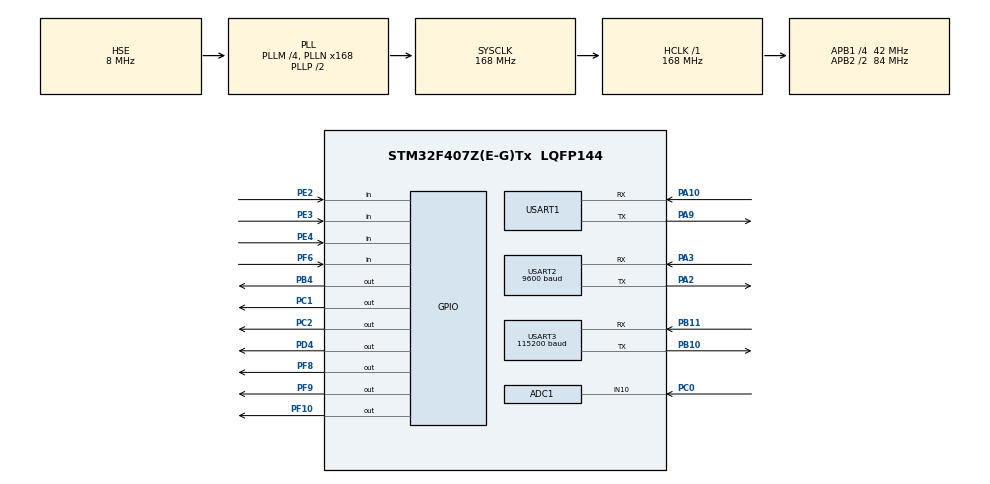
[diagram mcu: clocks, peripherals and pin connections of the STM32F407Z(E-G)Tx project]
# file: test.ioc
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ADC1.Channel-3\#ChannelRegularConversion=ADC_CHANNEL_10
ADC1.ClockPrescaler=ADC_CLOCK_SYNC_PCLK_DIV6
ADC1.ContinuousConvMode=ENABLE
ADC1.DMAContinuousRequests=ENABLE
ADC1.NbrOfConversionFlag=1
ADC1.Rank-3\#ChannelRegularConversion=1
ADC1.Resolution=ADC_RESOLUTION_12B
ADC1.SamplingTime-3\#ChannelRegularConversion=ADC_SAMPLETIME_3CYCLES
ADC1.master=1
Dma.ADC1.0.Direction=DMA_PERIPH_TO_MEMORY
Dma.ADC1.0.FIFOMode=DMA_FIFOMODE_DISABLE
Dma.ADC1.0.Instance=DMA2_Stream0
Dma.ADC1.0.MemDataAlignment=DMA_MDATAALIGN_HALFWORD
Dma.ADC1.0.MemInc=DMA_MINC_ENABLE
Dma.ADC1.0.Mode=DMA_CIRCULAR
Dma.ADC1.0.PeriphDataAlignment=DMA_PDATAALIGN_HALFWORD
Dma.ADC1.0.PeriphInc=DMA_PINC_DISABLE
Dma.ADC1.0.Priority=DMA_PRIORITY_LOW
Dma.Request0=ADC1
Mcu.Family=STM32F4
Mcu.Name=STM32F407Z(E-G)Tx
Mcu.Package=LQFP144
NVIC.DMA2_Stream0_IRQn=true\:0\:0\:false\:false\:true\:false
NVIC.PriorityGroup=NVIC_PRIORITYGROUP_4
NVIC.USART1_IRQn=true\:0\:0\:false\:false\:true\:true
NVIC.USART2_IRQn=true\:0\:0\:false\:false\:true\:true
NVIC.USART3_IRQn=true\:0\:0\:false\:false\:true\:true
PA10.Mode=Asynchronous
PA10.Signal=USART1_RX
PA13.Mode=Serial_Wire
PA13.Signal=SYS_JTMS-SWDIO
PA14.Mode=Serial_Wire
PA14.Signal=SYS_JTCK-SWCLK
PA2.Mode=Asynchronous
PA2.Signal=USART2_TX
PA3.Mode=Asynchronous
PA3.Signal=USART2_RX
PA9.Mode=Asynchronous
PA9.Signal=USART1_TX
PB10.Mode=Asynchronous
PB10.Signal=USART3_TX
PB11.Mode=Asynchronous
PB11.Signal=USART3_RX
PB4.Signal=GPIO_Output
PC0.Signal=ADCx_IN10
PC1.GPIO_ModeDefaultOutputPP=GPIO_MODE_OUTPUT_OD
PC1.Signal=GPIO_Output
PC14-OSC32_IN.Mode=LSE-External-Oscillator
PC14-OSC32_IN.Signal=RCC_OSC32_IN
PC15-OSC32_OUT.Mode=LSE-External-Oscillator
PC15-OSC32_OUT.Signal=RCC_OSC32_OUT
PC2.GPIO_ModeDefaultOutputPP=GPIO_MODE_OUTPUT_OD
PC2.Signal=GPIO_Output
PD4.Signal=GPIO_Output
PE2.GPIO_PuPd=GPIO_PULLUP
PE2.Signal=GPIO_Input
PE3.GPIO_PuPd=GPIO_PULLUP
PE3.Signal=GPIO_Input
PE4.GPIO_PuPd=GPIO_PULLUP
PE4.Signal=GPIO_Input
PF10.GPIO_ModeDefaultOutputPP=GPIO_MODE_OUTPUT_PP
PF10.GPIO_PuPd=GPIO_NOPULL
PF10.GPIO_Speed=GPIO_SPEED_FREQ_LOW
PF10.PinState=GPIO_PIN_RESET
PF10.Signal=GPIO_Output
PF6.Signal=GPIO_Input
PF8.Signal=GPIO_Output
PF9.GPIO_ModeDefaultOutputPP=GPIO_MODE_OUTPUT_PP
PF9.GPIO_PuPd=GPIO_NOPULL
PF9.GPIO_Speed=GPIO_SPEED_FREQ_LOW
PF9.PinState=GPIO_PIN_RESET
PF9.Signal=GPIO_Output
PH0-OSC_IN.Mode=HSE-External-Oscillator
PH0-OSC_IN.Signal=RCC_OSC_IN
PH1-OSC_OUT.Mode=HSE-External-Oscillator
PH1-OSC_OUT.Signal=RCC_OSC_OUT
ProjectManager.HeapSize=0x200
ProjectManager.StackSize=0x4000
ProjectManager.TargetToolchain=MDK-ARM V5
RCC.48MHZClocksFreq_Value=84000000
RCC.AHBFreq_Value=168000000
RCC.APB1CLKDivider=RCC_HCLK_DIV4
RCC.APB1Freq_Value=42000000
RCC.APB1TimFreq_Value=84000000
RCC.APB2CLKDivider=RCC_HCLK_DIV2
RCC.APB2Freq_Value=84000000
RCC.APB2TimFreq_Value=168000000
RCC.CortexFreq_Value=168000000
RCC.HCLKFreq_Value=168000000
RCC.HSE_VALUE=8000000
RCC.HSI_VALUE=16000000
RCC.PLLM=4
RCC.PLLN=168
RCC.PLLSourceVirtual=RCC_PLLSOURCE_HSE
RCC.SYSCLKFreq_VALUE=168000000
RCC.SYSCLKSource=RCC_SYSCLKSOURCE_PLLCLK
RCC.VCOOutputFreq_Value=336000000
SH.ADCx_IN10.0=ADC1_IN10,IN10
TIM7.Period=1
TIM7.Prescaler=84-1
USART1.VirtualMode=VM_ASYNC
USART1.WordLength=WORDLENGTH_8B
USART2.BaudRate=9600
USART2.VirtualMode=VM_ASYNC
USART3.BaudRate=115200
USART3.VirtualMode=VM_ASYNC
VP_TIM7_VS_ClockSourceINT.Mode=Enable_Timer
board=custom

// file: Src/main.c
/* USER CODE BEGIN Header */
/**
  ******************************************************************************
  * @file           : main.c
  * @brief          : Main program body
  ******************************************************************************
  ** This notice applies to any and all portions of this file
  * that are not between comment pairs USER CODE BEGIN and
  * USER CODE END. Other portions of this file, whether
  * inserted by the user or by software development tools
  * are owned by their respective copyright owners.
  *
  * COPYRIGHT(c) 2019 STMicroelectronics
  *
  * Redistribution and use in source and binary forms, with or without modification,
  * are permitted provided that the following conditions are met:
  *   1. Redistributions of source code must retain the above copyright notice,
  *      this list of conditions and the following disclaimer.
  *   2. Redistributions in binary form must reproduce the above copyright notice,
  *      this list of conditions and the following disclaimer in the documentation
  *      and/or other materials provided with the distribution.
  *   3. Neither the name of STMicroelectronics nor the names of its contributors
  *      may be used to endorse or promote products derived from this software
  *      without specific prior written permission.
  *
  * THIS SOFTWARE IS PROVIDED BY THE COPYRIGHT HOLDERS AND CONTRIBUTORS "AS IS"
  * AND ANY EXPRESS OR IMPLIED WARRANTIES, INCLUDING, BUT NOT LIMITED TO, THE
  * IMPLIED WARRANTIES OF MERCHANTABILITY AND FITNESS FOR A PARTICULAR PURPOSE ARE
  * DISCLAIMED. IN NO EVENT SHALL THE COPYRIGHT HOLDER OR CONTRIBUTORS BE LIABLE
  * FOR ANY DIRECT, INDIRECT, INCIDENTAL, SPECIAL, EXEMPLARY, OR CONSEQUENTIAL
  * DAMAGES (INCLUDING, BUT NOT LIMITED TO, PROCUREMENT OF SUBSTITUTE GOODS OR
  * SERVICES; LOSS OF USE, DATA, OR PROFITS; OR BUSINESS INTERRUPTION) HOWEVER
  * CAUSED AND ON ANY THEORY OF LIABILITY, WHETHER IN CONTRACT, STRICT LIABILITY,
  * OR TORT (INCLUDING NEGLIGENCE OR OTHERWISE) ARISING IN ANY WAY OUT OF THE USE
  * OF THIS SOFTWARE, EVEN IF ADVISED OF THE POSSIBILITY OF SUCH DAMAGE.
  *
  ******************************************************************************
  */
/* USER CODE END Header */

#include "main.h"
#include "adc.h"
#include "dma.h"
#include "tim.h"
#include "usart.h"
#include "gpio.h"

/* USER CODE BEGIN Includes */
#include "dht11.h"
#include "GY-30.h"
#include "flash.h"
#include <string.h>
/* USER CODE END Includes */

/* USER CODE BEGIN PV */
uint16_t min_temp=0,max_temp=0;//环境温湿度的上、下限值
uint8_t rxBufLen = 0;
uint8_t rxByte;
uint8_t aRxBuffer2[64]={0};//串口3数组
/* USER CODE END PV */

void SystemClock_Config(void);
/* USER CODE BEGIN PFP */
void ReadDataFromFlash(){
		uint32_t addr = 0x08008000;
		unsigned char buf[12]={0};
		for(int i = 0;i<4;i++){
				buf[i] = printFlashTest(addr);
				addr+=4;
		}
		min_temp = (buf[0]-'0')*10+buf[1]-'0';
		max_temp = (buf[2]-'0')*10+buf[3]-'0';

}
/* USER CODE END PFP */

int main(void)
{
  /* USER CODE BEGIN 1 */
	DHT11_Data_TypeDef  DHT11_Data;
	uint8_t ADC_value = 0;
	uint8_t i;
	uint32_t ad1,ad2;
	uint8_t isAutoMode = 1;	//自动/手动模式标志位
	uint32_t time = 0;//计时器
	__IO uint16_t ADC_ConvertedValue[12];

  /* USER CODE END 1 */

  /* MCU Configuration--------------------------------------------------------*/

  /* Reset of all peripherals, Initializes the Flash interface and the Systick. */
  HAL_Init();

  /* Configure the system clock */
  SystemClock_Config();

  /* Initialize all configured peripherals */
  MX_GPIO_Init();
  MX_DMA_Init();
  MX_USART1_UART_Init();
  MX_TIM7_Init();
  MX_ADC1_Init();
  MX_USART3_UART_Init();
  MX_USART2_UART_Init();
  /* USER CODE BEGIN 2 */
	DHT11_Init();//温湿度模块初始化
	ReadDataFromFlash();//读取flash土壤湿度范围
	Init_BH1750();///初始化光照
	//关闭两个LED
	HAL_GPIO_WritePin(GPIOF,GPIO_PIN_9,GPIO_PIN_SET);
	HAL_GPIO_WritePin(GPIOF,GPIO_PIN_10,GPIO_PIN_SET);
	//开启ADC
	if(HAL_ADC_Start_DMA(&hadc1,(uint32_t*)&ADC_ConvertedValue[0],12)!=HAL_OK){
		 Error_Handler();
	}
	//开启USART3
	HAL_UART_Receive_IT(&huart2,&rxByte,1);
  /* USER CODE END 2 */

  /* Infinite loop */
  /* USER CODE BEGIN WHILE */
  //writeFlashTest(0x08008000,"7080",4);

  while (1)
  {

		//获取温湿度
		unsigned char buf[17]={0};
		int res = DHT11_Read_TempAndHumidity(&DHT11_Data);
	  if(res==2){
		}
		else
			sprintf(buf,"0000\n");
		//获取温湿度阈值
		ReadDataFromFlash();
		//获取光照
		int light = (int)Value_GY30();

		sprintf(buf,"%2d%2d%2d%2d%4d\n",min_temp,max_temp,(int)DHT11_Data.temperature,(int)DHT11_Data.humidity,light);

		HAL_UART_Transmit(&huart1,buf,sizeof(buf),10);
		if(light<500){
			HAL_GPIO_WritePin(GPIOD,GPIO_PIN_4,1);
		}
		else
			HAL_GPIO_WritePin(GPIOD,GPIO_PIN_4,0);
		HAL_Delay(1000);

    /* USER CODE END WHILE */

  }
}

void SystemClock_Config(void)
{
  RCC_OscInitTypeDef RCC_OscInitStruct = {0};
  RCC_ClkInitTypeDef RCC_ClkInitStruct = {0};

  /**Configure the main internal regulator output voltage
  */
  __HAL_RCC_PWR_CLK_ENABLE();
  __HAL_PWR_VOLTAGESCALING_CONFIG(PWR_REGULATOR_VOLTAGE_SCALE1);
  /**Initializes the CPU, AHB and APB busses clocks
  */
  RCC_OscInitStruct.OscillatorType = RCC_OSCILLATORTYPE_HSE;
  RCC_OscInitStruct.HSEState = RCC_HSE_ON;
  RCC_OscInitStruct.PLL.PLLState = RCC_PLL_ON;
  RCC_OscInitStruct.PLL.PLLSource = RCC_PLLSOURCE_HSE;
  RCC_OscInitStruct.PLL.PLLM = 4;
  RCC_OscInitStruct.PLL.PLLN = 168;
  RCC_OscInitStruct.PLL.PLLP = RCC_PLLP_DIV2;
  RCC_OscInitStruct.PLL.PLLQ = 4;
  if (HAL_RCC_OscConfig(&RCC_OscInitStruct) != HAL_OK)
  {
    Error_Handler();
  }
  /**Initializes the CPU, AHB and APB busses clocks
  */
  RCC_ClkInitStruct.ClockType = RCC_CLOCKTYPE_HCLK|RCC_CLOCKTYPE_SYSCLK
                              |RCC_CLOCKTYPE_PCLK1|RCC_CLOCKTYPE_PCLK2;
  RCC_ClkInitStruct.SYSCLKSource = RCC_SYSCLKSOURCE_PLLCLK;
  RCC_ClkInitStruct.AHBCLKDivider = RCC_SYSCLK_DIV1;
  RCC_ClkInitStruct.APB1CLKDivider = RCC_HCLK_DIV4;
  RCC_ClkInitStruct.APB2CLKDivider = RCC_HCLK_DIV2;

  if (HAL_RCC_ClockConfig(&RCC_ClkInitStruct, FLASH_LATENCY_5) != HAL_OK)
  {
    Error_Handler();
  }
}

/* USER CODE BEGIN 4 */
void HAL_UART_RxCpltCallback(UART_HandleTypeDef *huart)
{
  /* Prevent unused argument(s) compilation warning */
  UNUSED(huart);
  /* NOTE: This function Should not be modified, when the callback is needed,
           the HAL_UART_TxCpltCallback could be implemented in the user file
   */
	if(huart->Instance == USART2)
	{
		if(rxBufLen>64)
		{
			rxBufLen=0;
			HAL_UART_Transmit(&huart1,(uint8_t *)"Too Long!\r\n",11,1000);
			memset(aRxBuffer2,0,64);
		}
		else
		{
			aRxBuffer2[rxBufLen++]=rxByte;
			if(aRxBuffer2[rxBufLen-1]==0x0A&&aRxBuffer2[rxBufLen-2]==0x0D)
			{
				//HAL_UART_Transmit(&huart1,aRxBuffer2,rxBufLen,1000);
				if(strstr(aRxBuffer2,"CONNECT")){
					uint8_t str[]="蓝牙连接成功!\n";
					HAL_UART_Transmit(&huart1,str,sizeof(str),1000);
				}
				else if(strstr(aRxBuffer2,"DISC")){
					uint8_t str[]="蓝牙断开连接!\n";
					HAL_UART_Transmit(&huart1,str,sizeof(str),1000);
				}

				rxBufLen=0;
				memset(aRxBuffer2,0,64);
			}
			else if(aRxBuffer2[0]=='#'&&aRxBuffer2[5]=='#'){
					uint8_t temp[4]={0};
					uint8_t res[4]={0};//用于判断是否写入
					for(int i = 0;i<4;i++){
						temp[i] = aRxBuffer2[i+1];
					}
					writeFlashTest(0x08008000,temp,4);
					uint8_t str[]="设置温湿度阈值成功!\n";
					HAL_UART_Transmit(&huart1,str,sizeof(str),1000);
					rxBufLen=0;
					memset(aRxBuffer2,0,64);

			}
		}
		HAL_UART_Receive_IT(&huart2,&rxByte,1);
	}
}
/* USER CODE END 4 */

void Error_Handler(void)
{
  /* USER CODE BEGIN Error_Handler_Debug */
  /* User can add his own implementation to report the HAL error return state */
	HAL_UART_Transmit(&huart1,"adc start failed\n",sizeof("adc start failed\n"),10);
  /* USER CODE END Error_Handler_Debug */
}

/************************ (C) COPYRIGHT STMicroelectronics *****END OF FILE****/
